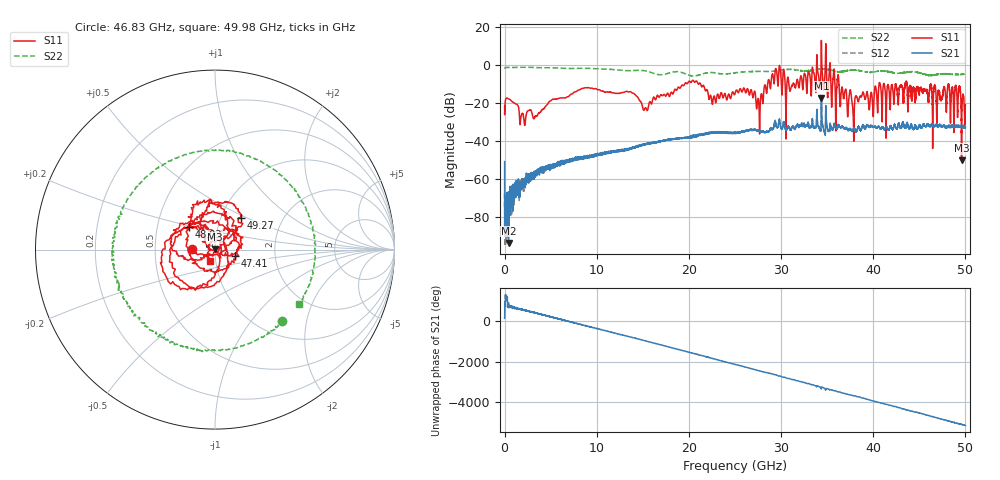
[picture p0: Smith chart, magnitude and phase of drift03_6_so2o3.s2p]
!Created with skrf (http://scikit-rf.org).
# Hz S RI R 50.0
!freq ReS11 ImS11 ReS21 ImS21 ReS12 ImS12 ReS22 ImS22
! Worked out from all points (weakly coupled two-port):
!   10001 points, 300 kHz to 50 GHz, reference 50 ohm
!   highest |S21| = -17.45 dB at 34.38 GHz (marker M1); lowest = -93.8 dB at 425.3 MHz (marker M2)
!   lowest |S11| = -50.2 dB at 49.59 GHz (marker M3), VSWR 1.01, Z = 49.8 + j0.219 ohm
!   |S11| at or under -10 dB: start of sweep to 19.56 GHz; 21.26 GHz to 28.55 GHz (7.293 GHz wide, 29.3 % of centre); 43.67 GHz to end of sweep (the widest 3 of 30)
!   |S22| runs from -5.9 to -1.3 dB; largest |S21 - S12| = 0.025
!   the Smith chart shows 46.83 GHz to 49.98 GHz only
!   S11 on the Smith chart (normalised r, x): 46.83 GHz: 0.77, +0.00; 47.41 GHz: 1.25, -0.09; 48.03 GHz: 0.73, +0.19; 49.27 GHz: 1.24, +0.46; 49.98 GHz: 0.94, -0.12
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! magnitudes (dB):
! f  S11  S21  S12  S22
! 300 kHz  -21.8  -51.0  -74.9  -2.1
! 425.3 MHz  -18.0  -93.8  -73.2  -1.5
! 3.3 GHz  -27.2  -58.0  -57.5  -1.5
! 8.335 GHz  -12.6  -49.2  -49.3  -1.9
! 15.29 GHz  -22.8  -41.7  -41.8  -3.3
! 16.67 GHz  -16.5  -40.4  -40.5  -5.2
! 20.26 GHz  -9.2  -37.8  -37.9  -5.8
! 25 GHz  -15.3  -35.8  -35.9  -4.3
! 27.52 GHz  -17.8  -34.5  -34.3  -3.5
! 29.28 GHz  -8.7  -31.2  -30.7  -3.4
! 30.73 GHz  -6.6  -32.7  -32.6  -2.5
! 33.34 GHz  -7.3  -31.2  -31.4  -2.9
! 34.38 GHz  12.5  -17.4  -18.7  -2.3
! 37.87 GHz  -33.8  -33.8  -34.2  -2.9
! 41.67 GHz  -12.0  -34.3  -34.2  -3.6
! 46.83 GHz  -17.8  -31.8  -31.8  -5.2
! 47.41 GHz  -18.5  -32.3  -32.4  -4.9
! 48.03 GHz  -14.4  -32.5  -32.6  -4.9
! 49.27 GHz  -12.9  -32.4  -32.3  -5.1
! 49.59 GHz  -50.2  -32.6  -32.4  -5.1
! 49.98 GHz  -23.2  -32.7  -33.0  -5.1
! 50 GHz  -21.0  -32.6  -32.8  -5.0
